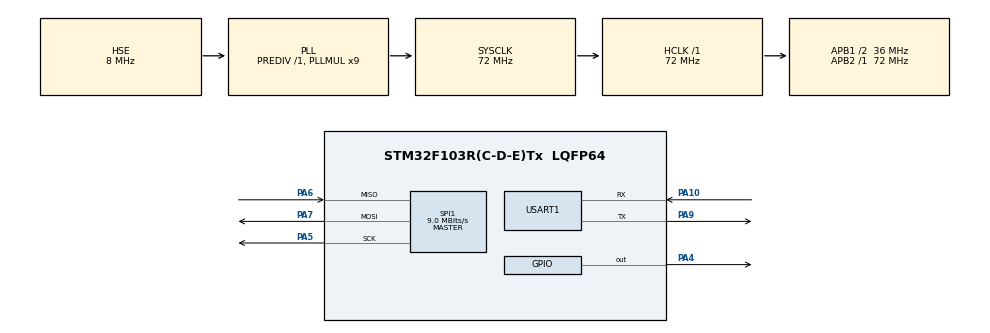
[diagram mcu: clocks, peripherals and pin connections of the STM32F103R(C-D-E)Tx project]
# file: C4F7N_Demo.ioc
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Mcu.Family=STM32F1
Mcu.Name=STM32F103R(C-D-E)Tx
Mcu.Package=LQFP64
NVIC.PriorityGroup=NVIC_PRIORITYGROUP_4
PA10.Mode=Asynchronous
PA10.Signal=USART1_RX
PA13.Mode=Serial_Wire
PA13.Signal=SYS_JTMS-SWDIO
PA14.Mode=Serial_Wire
PA14.Signal=SYS_JTCK-SWCLK
PA4.Pull=GPIO_NOPULL
PA4.Signal=GPIO_Output
PA5.Mode=Full_Duplex_Master
PA5.Signal=SPI1_SCK
PA6.Mode=Full_Duplex_Master
PA6.Signal=SPI1_MISO
PA7.Mode=Full_Duplex_Master
PA7.Signal=SPI1_MOSI
PA9.Mode=Asynchronous
PA9.Signal=USART1_TX
PB1.Signal=ADCx_IN9
PD0-OSC_IN.Mode=HSE-External-Oscillator
PD0-OSC_IN.Signal=RCC_OSC_IN
PD1-OSC_OUT.Mode=HSE-External-Oscillator
PD1-OSC_OUT.Signal=RCC_OSC_OUT
ProjectManager.HeapSize=0x200
ProjectManager.StackSize=0x400
ProjectManager.TargetToolchain=MDK-ARM V5.32
RCC.AHBFreq_Value=72000000
RCC.APB1CLKDivider=RCC_HCLK_DIV2
RCC.APB1Freq_Value=36000000
RCC.APB1TimFreq_Value=72000000
RCC.APB2Freq_Value=72000000
RCC.APB2TimFreq_Value=72000000
RCC.HCLKFreq_Value=72000000
RCC.PLLMUL=RCC_PLL_MUL9
RCC.PLLSourceVirtual=RCC_PLLSOURCE_HSE
RCC.SYSCLKFreq_VALUE=72000000
RCC.SYSCLKSource=RCC_SYSCLKSOURCE_PLLCLK
RCC.USBFreq_Value=72000000
ADC1.Channel-9#ChannelRegularConversion=ADC_CHANNEL_9
ADC1.ClockPrescaler=ADC_CLOCK_SYNC_PCLK_DIV6
ADC1.ContinuousConvMode=DISABLE
ADC1.DataAlign=ADC_DATAALIGN_RIGHT
ADC1.DiscontinuousConvMode=DISABLE
ADC1.EOCSelection=ADC_EOC_SINGLE_CONV
ADC1.ExternalTrigConv=ADC_SOFTWARE_START
ADC1.NbrOfConversion=1
ADC1.NbrOfConversionFlag=1
ADC1.Rank-1#ChannelRegularConversion=1
ADC1.SamplingTime-9#ChannelRegularConversion=ADC_SAMPLETIME_239CYCLES_5
ADC1.ScanConvMode=ADC_SCAN_DISABLE
SH.ADCx_IN9.0=ADC1_IN9
SPI1.BaudRatePrescaler=SPI_BAUDRATEPRESCALER_8
SPI1.CLKPhase=SPI_PHASE_1EDGE
SPI1.CLKPolarity=SPI_POLARITY_LOW
SPI1.CRCCalculation=SPI_CRCCALCULATION_DISABLE
SPI1.CalculateBaudRate=9.0 MBits/s
SPI1.DataSize=SPI_DATASIZE_8BIT
SPI1.Direction=SPI_DIRECTION_2LINES
SPI1.FirstBit=SPI_FIRSTBIT_MSB
SPI1.Mode=SPI_MODE_MASTER
SPI1.NSS=SPI_NSS_SOFT
SPI1.TIMode=SPI_TIMODE_DISABLE
SPI1.VirtualType=VM_MASTER
USART1.VirtualMode=VM_ASYNC
board=custom

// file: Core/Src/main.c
/* USER CODE BEGIN Header */
/**
  ******************************************************************************
  * @file           : main.c
*  @brief          : C4F7N 便携式检漏仪 | STM32F103RCT6 + TJC 7寸屏(C4F7N_HMI_v18)
  ******************************************************************************
  */
/* USER CODE END Header */
#include "main.h"
#include "spi.h"
#include "usart.h"
#include "gpio.h"

/* USER CODE BEGIN Includes */
#include "adc.h"
#include "spi.h"
#include "tjc_cmd.h"
#include "hmi_callback.h"
#include "hmi_get.h"
#include "c4f7n_hmi_protocol.h"
#include "sensor.h"
#include "battery.h"
#include "w25q16.h"
#include "history.h"
#include "param_store.h"
#include <stdio.h>
/* USER CODE END Includes */

/* USER CODE BEGIN PV */

/* ---------- 状态 ---------- */
static float g_ppm  = 0.0f;     /* 当前浓度 ppm */
static float g_peak = 0.0f;     /* 峰值 ppm */
static int   g_thr_hi = 500;    /* 高报阈值 ppm */
static int   g_thr_lo = 100;    /* 低报阈值 ppm */
static int   g_alarm  = 0;      /* 0=正常/1=低报/2=高报/3=超量程 */
static char  g_avg_str[16];
static uint8_t g_pump_on = 1;   /* pump: 1=run 0=stop (no GPIO yet) */

/* 掉电保存参数 (标定+阈值) */
param_t g_param;
#define PP  g_param
static int g_thr_pending = 0;   /* 1=改 hi, 2=改 lo(阈值 get 应答后清零) */

uint8_t rx_byte;                /* USART1 接收字节 */
#define GY_PER_PPM 0.458f        /* 1ppm 约 0.458 g/y (单位换算) */

/* USER CODE END PV */

void SystemClock_Config(void);
/* USER CODE BEGIN PFP */
static void app_refresh(void);
static void app_apply_threshold(void);
static void app_apply_unit(void);
static void apply_view(void);
static void refill_curve(void);
static void refill_table(void);

/* USER CODE END PFP */

int main(void)
{

  /* MCU Configuration--------------------------------------------------------*/

  /* Reset of all peripherals, Initializes the Flash interface and the Systick. */
  HAL_Init();

  /* Configure the system clock */
  SystemClock_Config();

  /* Initialize all configured peripherals */
  MX_GPIO_Init();
  MX_USART1_UART_Init();
  MX_SPI1_Init();
  MX_ADC1_Init();
  /* USER CODE BEGIN 2 */

  /* 传感器 ADC 采集 (PA0 / ADC1_IN0) */
  sensor_init();

  /* 电池分压采样 (PB1 / ADC1_IN9) + 循环采样 */
  battery_init();
  battery_poll();

  /* W25Q16 掉电保存初始化 (SPI1+CS), 保存标定/历史 */
  w25q16_init();
  history_init();
  param_init(&PP);
  g_thr_hi = PP.thr_hi;
  g_thr_lo = PP.thr_lo;
  sensor_set_cal(PP.cal_k, PP.cal_b);   /* 应用标定系数 */

  /* 向屏幕发命令: 每间 1 秒触发 HAL_UART_RxCpltCallback */
  HAL_UART_Receive_IT(&huart1, &rx_byte, 1);

  /* 上电初始化, 同时默认阈值与单位按钮文案 */
  tjc_page(0);
  app_apply_threshold();
  app_apply_unit();

  /* USER CODE END 2 */

  /* Infinite loop */
  while (1)
  {

    /* USER CODE BEGIN 3 */
    app_refresh();
    HAL_Delay(250);
  }
  /* USER CODE END 3 */
}

void SystemClock_Config(void)
{
  RCC_OscInitTypeDef RCC_OscInitStruct = {0};
  RCC_ClkInitTypeDef RCC_ClkInitStruct = {0};

  /** Initializes the RCC Oscillators according to the specified parameters
  * in the RCC_OscInitTypeDef structure.
  */
  RCC_OscInitStruct.OscillatorType = RCC_OSCILLATORTYPE_HSE;
  RCC_OscInitStruct.HSEState = RCC_HSE_ON;
  RCC_OscInitStruct.HSEPredivValue = RCC_HSE_PREDIV_DIV1;
  RCC_OscInitStruct.HSIState = RCC_HSI_ON;
  RCC_OscInitStruct.PLL.PLLState = RCC_PLL_ON;
  RCC_OscInitStruct.PLL.PLLSource = RCC_PLLSOURCE_HSE;
  RCC_OscInitStruct.PLL.PLLMUL = RCC_PLL_MUL9;
  if (HAL_RCC_OscConfig(&RCC_OscInitStruct) != HAL_OK)
  {
    Error_Handler();
  }

  /** Initializes the CPU, AHB and APB buses clocks
  */
  RCC_ClkInitStruct.ClockType = RCC_CLOCKTYPE_HCLK|RCC_CLOCKTYPE_SYSCLK
                              |RCC_CLOCKTYPE_PCLK1|RCC_CLOCKTYPE_PCLK2;
  RCC_ClkInitStruct.SYSCLKSource = RCC_SYSCLKSOURCE_PLLCLK;
  RCC_ClkInitStruct.AHBCLKDivider = RCC_SYSCLK_DIV1;
  RCC_ClkInitStruct.APB1CLKDivider = RCC_HCLK_DIV2;
  RCC_ClkInitStruct.APB2CLKDivider = RCC_HCLK_DIV1;

  if (HAL_RCC_ClockConfig(&RCC_ClkInitStruct, FLASH_LATENCY_2) != HAL_OK)
  {
    Error_Handler();
  }
}

/* USER CODE BEGIN 4 */

/* ---------- 屏幕命令处理 (USART1, 接收解析) ---------- */
void HAL_UART_RxCpltCallback(UART_HandleTypeDef *huart)
{
  if (huart->Instance == USART1) {
    /* 正在等 get 应答数据, 数据喂给等待者 */
    if (hmi_get_feed(rx_byte)) {
      if (!hmi_get_is_string()) {
        if (g_thr_pending == 1) { g_thr_hi = (int)hmi_get_value(); app_apply_threshold(); }
        else if (g_thr_pending == 2) { g_thr_lo = (int)hmi_get_value(); app_apply_threshold(); }
        g_thr_pending = 0;
      }
    } else {
      hmi_on_rx_byte(rx_byte);
    }
    HAL_UART_Receive_IT(&huart1, &rx_byte, 1);
  }
}

/* ---------- 参数同步到屏幕 ---------- */
static void app_apply_threshold(void) {
  tjc_set_val(OBJ_THR_HI_VAL, g_thr_hi);
  tjc_set_val(OBJ_THR_LO_VAL, g_thr_lo);
}

static void app_apply_unit(void) {
    /* 主页 单位+副标题 随单位切换 */
    tjc_set_txt(OBJ_CONC_SUB, PP.unit_mode ? "g/年 年泄漏率" : "ppm 浓度实时值");
  /* 同步单位按钮文案: 开机/切换后刷新按钮标签与单位一致 */
  tjc_set_txt(OBJ_UNIT_BTN, PP.unit_mode ? "g/年" : "ppm");
}

/* User app state (history split view) */
static int      g_page     = 0;   /* current screen page 0..3 */
static int      g_view     = 0;   /* history page view: 0=curve 1=table */
static uint16_t g_tbl_page = 1;   /* history table current page (1=latest) */

/* ---------- app_refresh: page-aware periodic refresh ---------- */
/* status chips: probe/pump/battery dot color by state (ASCII-only, GBK file) */
static void hmi_update_status_chips(void) {
  int probe = sensor_online();
  int pct   = battery_get_pct();
  uint16_t bpic;

  tjc_pic(OBJ_DOT_PROBE, probe ? PIC_DOT_GREEN : PIC_DOT_GRAY);
  tjc_pic(OBJ_DOT_PUMP,  g_pump_on ? PIC_DOT_GREEN : PIC_DOT_GRAY);
  /* probe/pump state in sync on all 4 pages */
  tjc_pic(OBJ_DOT_PROBE_P1, probe ? PIC_DOT_GREEN : PIC_DOT_GRAY);
  tjc_pic(OBJ_DOT_PUMP_P1,  g_pump_on ? PIC_DOT_GREEN : PIC_DOT_GRAY);
  tjc_pic(OBJ_DOT_PROBE_P2, probe ? PIC_DOT_GREEN : PIC_DOT_GRAY);
  tjc_pic(OBJ_DOT_PUMP_P2,  g_pump_on ? PIC_DOT_GREEN : PIC_DOT_GRAY);
  tjc_pic(OBJ_DOT_PROBE_P3, probe ? PIC_DOT_GREEN : PIC_DOT_GRAY);
  tjc_pic(OBJ_DOT_PUMP_P3,  g_pump_on ? PIC_DOT_GREEN : PIC_DOT_GRAY);
  bpic = (pct >= BAT_DOT_WARN_PCT) ? (uint16_t)PIC_DOT_GREEN
       : (pct >= BAT_DOT_LOW_PCT)  ? (uint16_t)PIC_DOT_AMBER
       : (uint16_t)PIC_DOT_RED;
  /* keep battery dot color in sync on all 4 pages */
  tjc_pic(OBJ_DOT_BAT, bpic);
  tjc_pic(OBJ_DOT_BAT_P1, bpic);
  tjc_pic(OBJ_DOT_BAT_P2, bpic);
  tjc_pic(OBJ_DOT_BAT_P3, bpic);
}

static void app_refresh(void) {
  char buf[32];

  /* battery -> screen */
  battery_poll();

  /* read sensor concentration (0~1000 ppm), update peak */
  g_ppm = sensor_read_ppm();
  if (g_ppm > g_peak) g_peak = g_ppm;

  /* alarm level: 0=green 1=low 2=high 3=over */
  if (g_ppm >= 1000) g_alarm = 3;
  else if (g_ppm >= PP.thr_hi) g_alarm = 2;
  else if (g_ppm >= PP.thr_lo) g_alarm = 1;
  else g_alarm = 0;

  /* live waveform feed only in history-curve view (ch=1 matches wv) */
  if (g_page == 2 && g_view == 0) {
    tjc_wave_add(1, (uint8_t)(g_ppm * 255.0f / 1000.0f));
  }

  /* 1s: log ppm to W25Q16 history ring */
  { static uint32_t hist_last = 0;
    uint32_t hn = HAL_GetTick();
    if (hn - hist_last >= HIST_PERIOD_MS) { hist_last = hn; history_log((uint16_t)g_ppm); }
  }

  /* refresh active screen by current page (avoid sending nonexistent objs) */
  if (g_page == 0) {
    /* home page: concentration / peak / badge / status / strip */
    if (PP.unit_mode == 1) {
      tjc_set_val(OBJ_CONC, (int)(g_ppm * GY_PER_PPM * 100.0f));
      tjc_set_val(OBJ_PEAK, (int)(g_peak * GY_PER_PPM * 100.0f));
      snprintf(g_avg_str, sizeof(g_avg_str), "%.2f", g_ppm * GY_PER_PPM);
    } else {
      tjc_set_val(OBJ_CONC, (int)(g_ppm * 100));
      tjc_set_val(OBJ_PEAK, (int)(g_peak * 100));
      snprintf(g_avg_str, sizeof(g_avg_str), "%.2f", g_ppm);
    }
    snprintf(buf, sizeof(buf), "%.1f s", 0.0f);   tjc_set_txt(OBJ_T90, buf);
    snprintf(buf, sizeof(buf), "%.2f",   0.0f);   tjc_set_txt(OBJ_FLOW, buf);
    snprintf(buf, sizeof(buf), "%.1f",   25.0f);  tjc_set_txt(OBJ_TEMP, buf);
    snprintf(buf, sizeof(buf), "%d/%d", g_thr_hi, g_thr_lo); tjc_set_txt(OBJ_THR, buf);
    tjc_set_txt(OBJ_BADGE_AVG, g_avg_str);
    switch (g_alarm) {
      case 3:
      case 2: tjc_set_pco(OBJ_STRIP, C_STRIP_RED);    break;
      case 1: tjc_set_pco(OBJ_STRIP, C_STRIP_ORANGE); break;
      default: tjc_set_pco(OBJ_STRIP, C_STRIP_GREEN);  break;
    }
    hmi_update_status_chips();   /* topbar probe/pump/battery dot */
  } else if (g_page == 2) {
    if (g_view == 0)      refill_curve();
    else                  refill_table();
  }
}

/* ---------- history split-view rendering (usered for page 2) ---------- */
/* hide/show the two view groups before rendering */
static void apply_view(void) {
  static const char *curve_obj[] = {
    OBJ_CT_PL, OBJ_CT_TITLE, OBJ_CT_WAVE, OBJ_CT_LEG, OBJ_CT_ALARM,
    "cys0", "cys1", "cys2", "cys3", "cys4",
    OBJ_CT_PR, "stt", "mxl", "mx", "avl", "av", "mnl", "mn", "dul", "du", "ctl", "ct", "ex"
  };
  static const char *tbl_obj[] = {
    OBJ_TBL_PANEL, OBJ_TBL_HEAD_T, OBJ_TBL_HEAD_P,
    "tt0","tt1","tt2","tt3","tt4","tt5","tt6","tt7","tt8","tt9","tt10","tt11",
    "np0","np1","np2","np3","np4","np5","np6","np7","np8","np9","np10","np11",
    "bup", "bdn", OBJ_TBL_PAGE
  };
  unsigned i;
  int cvis = (g_view == 0) ? 1 : 0;   /* curve group visible when view=0 */
  int tvis = (!cvis);
  for (i = 0; i < sizeof(curve_obj)/sizeof(curve_obj[0]); i++) tjc_vis(curve_obj[i], (uint8_t)cvis);
  for (i = 0; i < sizeof(tbl_obj)/sizeof(tbl_obj[0]);  i++) tjc_vis(tbl_obj[i],   (uint8_t)tvis);
}

/* fill curve waveform + stats from recent history (new->old) */
static void refill_curve(void) {
  hist_rec_t rec;
  uint32_t avail = history_available();
  uint16_t n, i;
  char sbuf[24];
  uint16_t vmax = 0, vmin = 0xFFFF, k = 0;
  uint32_t sum = 0, total = 0;
  float avg = 0.0f;

  avail = history_available();
  total = (avail > 600u) ? 600u : avail;
  tjc_wave_cls(1);
  if (total == 0) { n = 0; }
  else {
    uint32_t step = (total + 599u) / 600u; if (step < 1) step = 1;
    n = 0;
    for (i = 0; i < (uint16_t)total; i += (uint16_t)step) {
      if (!history_read_one(i, &rec)) break;
      if (rec.ppm > vmax) vmax = rec.ppm;
      if (rec.ppm < vmin) vmin = rec.ppm;
      sum += rec.ppm; k++;
      tjc_wave_add(1, (uint8_t)(rec.ppm * 255u / 1000u));
    }
    n = k;
  }
  if (n == 0) { avg = 0; vmin = 0; } else avg = (float)sum / (float)n;
  snprintf(sbuf, sizeof(sbuf), "%u", (unsigned)vmax); tjc_set_txt(OBJ_STAT_MAX, sbuf);
  snprintf(sbuf, sizeof(sbuf), "%.1f", (double)avg);  tjc_set_txt(OBJ_STAT_AVG, sbuf);
  snprintf(sbuf, sizeof(sbuf), "%u", (unsigned)vmin); tjc_set_txt(OBJ_STAT_MIN, sbuf);
  snprintf(sbuf, sizeof(sbuf), "%u", (unsigned)total);tjc_set_txt(OBJ_STAT_DUR, sbuf);
  snprintf(sbuf, sizeof(sbuf), "%u", (unsigned)total);tjc_set_txt(OBJ_STAT_CNT, sbuf);
}

/* fill 12-row history table for current page (row0 = newest) */
static void refill_table(void) {
  hist_rec_t r[HIST_TBL_ROWS];
  uint16_t n, i;
  uint16_t pc, page = g_tbl_page;
  char s[40];

  pc = history_page_count(HIST_TBL_ROWS);
  if (page < 1) page = 1;
  if (page > pc) page = pc;
  g_tbl_page = page;
  n = history_read_page(page, r, HIST_TBL_ROWS);

  for (i = 0; i < HIST_TBL_ROWS; i++) {
    char tObj[8], pObj[8];
    char tbuf[12], vbuf[12];
    if (i < n) {
      unsigned hh = (r[i].ts / 3600u) % 24u, mm = (r[i].ts / 60u) % 60u, ss = r[i].ts % 60u;
      snprintf(tbuf, sizeof(tbuf), "%02u:%02u:%02u", hh, mm, ss);
      if (PP.unit_mode == 1)
        snprintf(vbuf, sizeof(vbuf), "%.1f", (double)r[i].ppm * GY_PER_PPM);
      else
        snprintf(vbuf, sizeof(vbuf), "%u", (unsigned)r[i].ppm);
    } else {
      snprintf(tbuf, sizeof(tbuf), " ");
      snprintf(vbuf, sizeof(vbuf), " ");
    }
    snprintf(tObj, sizeof(tObj), "%s%u", OBJ_TBL_TIME_BASE, i);   /* time centered text  */
    tjc_set_txt(tObj, tbuf);
    snprintf(pObj, sizeof(pObj), "%s%u", OBJ_TBL_PPM_BASE, i);    /* ppm centered text   */
    tjc_set_txt(pObj, vbuf);
  }
      snprintf(s, sizeof(s), "%u/%u", (unsigned)page, (unsigned)pc);
  tjc_set_txt(OBJ_TBL_PAGE, s);
}

void hmi_on_peak_reset(void) { g_peak = 0.0f; tjc_set_val(OBJ_PEAK, 0); }

void hmi_on_thr_hi(void) { g_thr_pending = 1; tjc_get(OBJ_THR_HI_VAL, "val"); }
void hmi_on_thr_lo(void) { g_thr_pending = 2; tjc_get(OBJ_THR_LO_VAL, "val"); }

void hmi_on_unit_toggle(void) {
  PP.unit_mode = !PP.unit_mode;            /* 0=ppm 1=g/y */
    app_apply_unit();  /* 切单位: MCU 为准回推单位 UI(按钮+首页副标题) */
param_save(&PP);
  /* 屏幕按钮(u)切换单位, 发 printh 13, MCU 回写按钮标签 */
  tjc_set_txt(OBJ_UNIT_BTN, PP.unit_mode ? "g/年" : "ppm");
}

void hmi_on_buz_toggle(void) { PP.buzzer_en = !PP.buzzer_en; param_save(&PP); }

void hmi_on_cal_zero(void) {
  float v = sensor_read_voltage();
  int32_t k, b; sensor_get_cal(&k, &b);
  PP.cal_k = k;
  PP.cal_b = (int32_t)(-((float)k * 0.001f * v));  /* 使 0V 对应 0ppm */
  PP.cal_valid = 1;
  param_save(&PP);
  sensor_set_cal(PP.cal_k, PP.cal_b);
}

void hmi_on_cal_span(void) {
  float v = sensor_read_voltage();
  if (v < 0.0001f) return;
  PP.cal_k = (int32_t)((SENSOR_FS_PPM - PP.cal_b) / (double)v * 1000.0);
  PP.cal_valid = 1;
  param_save(&PP);
  sensor_set_cal(PP.cal_k, PP.cal_b);
}

void hmi_on_cal_factory(void) {
  param_factory(&PP, 1);            /* 恢复出厂设置(标定+参数) */
  g_thr_hi = PP.thr_hi; g_thr_lo = PP.thr_lo;
  sensor_set_cal(PP.cal_k, PP.cal_b);
  app_apply_threshold(); app_apply_unit();
}

/* view switch / table paging / page enter callbacks (cmd dispatcher) */
void hmi_on_view(int v) {
  g_view = (v != 0) ? 1 : 0;
  g_tbl_page = 1;
  apply_view();
  if (g_view) refill_table(); else refill_curve();
}

void hmi_on_tbl_page(int delta) {
  uint16_t pc = history_page_count(HIST_TBL_ROWS);
  int np = (int)g_tbl_page + delta;
  if (np < 1) np = 1;
  if ((uint16_t)np > pc) np = (int)pc;
  g_tbl_page = (uint16_t)np;
  refill_table();
}

void hmi_on_page_enter(int p) {
  g_page = p;
  app_apply_unit();  /* 进页面以 MCU 为准回推单位 UI(按钮+首页副标题), 避免被屏幕重进重置 */
  if (p == 2) {
    g_view = 0;             /* default curve view on entering history page */
    g_tbl_page = 1;
    apply_view();
    refill_curve();
  }
}

void hmi_on_export(void) {
  /* CSV export via reserved MCU channel (no SD); placeholder */
  history_export_window(3600u);
}

/* USER CODE END 4 */

void Error_Handler(void)
{
  __disable_irq();
  while (1) { }
}
#ifdef USE_FULL_ASSERT
/**
  * @brief  Reports the name of the source file and the source line number
  *         where the assert_param error has occurred.
  * @param  file: pointer to the source file name
  * @param  line: assert_param error line source number
  * @retval None
  */
void assert_failed(uint8_t *file, uint32_t line)
{
  /* USER CODE BEGIN 6 */
  (void)file; (void)line;
  /* USER CODE END 6 */
}
#endif /* USE_FULL_ASSERT */
